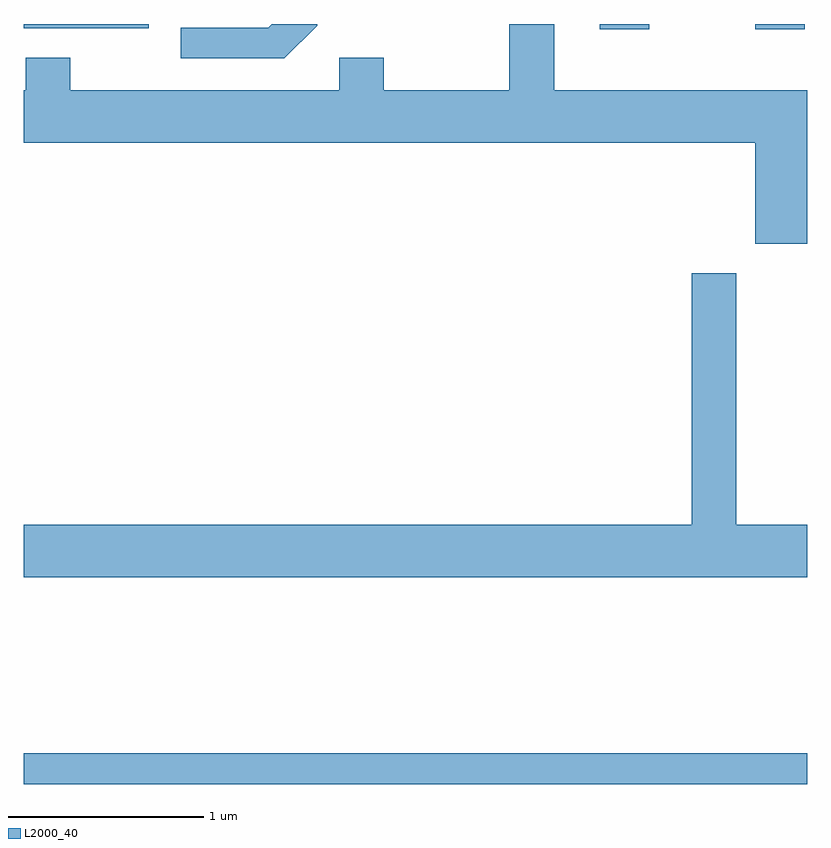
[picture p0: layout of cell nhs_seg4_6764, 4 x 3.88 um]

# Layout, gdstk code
import gdstk
lib = gdstk.Library(unit=1e-6, precision=1e-09)
def R(c, l, rs):  # rectangles x0, y0, x1, y1
    for r in rs: c.add(gdstk.rectangle(r[:2], r[2:], *l))
def P(c, l, *ps):  # polygons
    for p in ps: c.add(gdstk.Polygon(p, *l))
L2000_40 = (2000, 40)

nhs_seg4_6764 = lib.new_cell('nhs_seg4_6764')
R(nhs_seg4_6764, L2000_40, [(383.611,1318.101,387.611,1318.259), (386.551,1321.956,386.804,1321.982), (387.346,1321.956,387.599,1321.982), (383.611,1321.961,384.249,1321.982)])
P(nhs_seg4_6764, L2000_40, [(387.611,1321.644),(386.319,1321.644),(386.319,1321.982),(386.091,1321.982),(386.091,1321.644),(385.449,1321.644),(385.449,1321.809),(385.221,1321.809),(385.221,1321.644),(383.849,1321.644),(383.849,1321.809),(383.621,1321.809),(383.621,1321.644),(383.611,1321.644),(383.611,1321.376),(387.346,1321.376),(387.346,1320.861),(387.611,1320.861)],
  [(385.109,1321.974),(385.109,1321.982),(384.877,1321.982),(384.859,1321.964),(384.413,1321.964),(384.413,1321.806),(384.942,1321.806)],
  [(387.611,1319.424),(387.249,1319.424),(387.249,1320.709),(387.021,1320.709),(387.021,1319.424),(383.611,1319.424),(383.611,1319.156),(387.611,1319.156)])

lib.write_gds('nhs_seg4_6764.gds')
